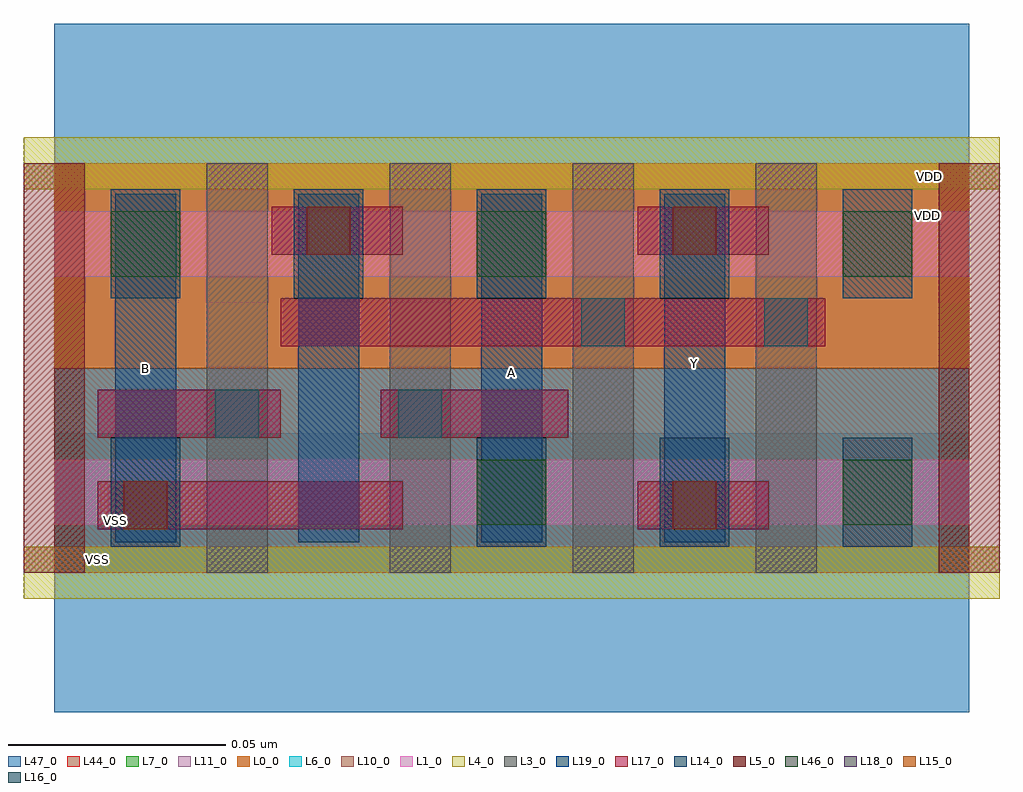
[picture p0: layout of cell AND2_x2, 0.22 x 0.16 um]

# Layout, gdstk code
import gdstk
lib = gdstk.Library(unit=1e-6, precision=5e-10)
def R(c, l, rs):  # rectangles x0, y0, x1, y1
    for r in rs: c.add(gdstk.rectangle(r[:2], r[2:], *l))
def A(c, l, x, y, w, h, nx, ny, dx, dy):  # array of equal rectangles
    R(c, l, [(x+i*dx, y+j*dy, x+i*dx+w, y+j*dy+h) for i in range(nx) for j in range(ny)])
L0_0 = (0, 0)
L1_0 = (1, 0)
L3_0 = (3, 0)
L4_0 = (4, 0)
L5_0 = (5, 0)
L6_0 = (6, 0)
L7_0 = (7, 0)
L10_0 = (10, 0)
L11_0 = (11, 0)
L14_0 = (14, 0)
L15_0 = (15, 0)
L16_0 = (16, 0)
L17_0 = (17, 0)
L18_0 = (18, 0)
L19_0 = (19, 0)
L44_0 = (44, 0)
L46_0 = (46, 0)
L47_0 = (47, 0)

and2_x2 = lib.new_cell('AND2_x2')
R(and2_x2, L0_0, [(0,0.047,0.21,0.094)])
R(and2_x2, L1_0, [(0,0.011,0.21,0.026), (0,0.068,0.21,0.083)])
A(and2_x2, L3_0, 0.035, 0, 0.014, 0.094, 4, 1, 0.042, 0)
R(and2_x2, L4_0, [(-0.007,-0.006,0.217,0.006), (-0.007,0.088,0.217,0.1)])
R(and2_x2, L5_0, [(-0.007,0,0.007,0.094), (0.203,0,0.217,0.094)])
R(and2_x2, L6_0, [(0,0,0.21,0.047)])
R(and2_x2, L7_0, [(0,0.047,0.21,0.094)])
R(and2_x2, L10_0, [(0,0,0.21,0.047)])
R(and2_x2, L11_0, [(0,0.047,0.21,0.094)])
A(and2_x2, L14_0, 0.097, 0.006, 0.016, 0.025, 3, 1, 0.042, 0)
A(and2_x2, L14_0, 0.013, 0.063, 0.016, 0.025, 5, 1, 0.042, 0)
R(and2_x2, L14_0, [(0.013,0.006,0.029,0.031)])
R(and2_x2, L15_0, [(0.016,0.01,0.026,0.021), (0.142,0.01,0.152,0.021), (0.058,0.073,0.068,0.084), (0.142,0.073,0.152,0.084)])
R(and2_x2, L16_0, [(0.037,0.031,0.047,0.042), (0.079,0.031,0.089,0.042), (0.121,0.052,0.131,0.063), (0.163,0.052,0.173,0.063)])
R(and2_x2, L17_0, [(0.01,0.01,0.08,0.021), (0.134,0.01,0.164,0.021), (0.01,0.031,0.052,0.042), (0.075,0.031,0.118,0.042), (0.052,0.052,0.177,0.063), (0.05,0.073,0.08,0.084), (0.134,0.073,0.164,0.084)])
R(and2_x2, L18_0, [(0.056,0.01,0.07,0.021), (0.14,0.01,0.154,0.021), (0.014,0.031,0.028,0.042), (0.098,0.031,0.112,0.042), (0.056,0.052,0.07,0.063), (0.056,0.073,0.07,0.084), (0.14,0.073,0.154,0.084)])
A(and2_x2, L19_0, 0.014, 0.007, 0.014, 0.08, 4, 1, 0.042, 0)
R(and2_x2, L44_0, [(0,0,0.21,0.094)])
A(and2_x2, L46_0, 0.013, 0.068, 0.016, 0.015, 3, 1, 0.084, 0)
R(and2_x2, L46_0, [(0.097,0.011,0.113,0.026), (0.181,0.011,0.197,0.026)])
R(and2_x2, L47_0, [(0,-0.032,0.21,0.032), (0,0.062,0.21,0.126)])
and2_x2.add(gdstk.Label('VSS', (0.01,0.003), layer=54, texttype=2))
and2_x2.add(gdstk.Label('Y', (0.147,0.048), layer=19, texttype=2))
and2_x2.add(gdstk.Label('A', (0.105,0.046), layer=19, texttype=2))
and2_x2.add(gdstk.Label('B', (0.021,0.047), layer=19, texttype=2))
and2_x2.add(gdstk.Label('VDD', (0.201,0.091), layer=0, texttype=2))
and2_x2.add(gdstk.Label('VSS', (0.014,0.012), layer=47, texttype=2))
and2_x2.add(gdstk.Label('VDD', (0.2005,0.082), layer=47, texttype=2))

lib.write_gds('AND2_x2.gds')
